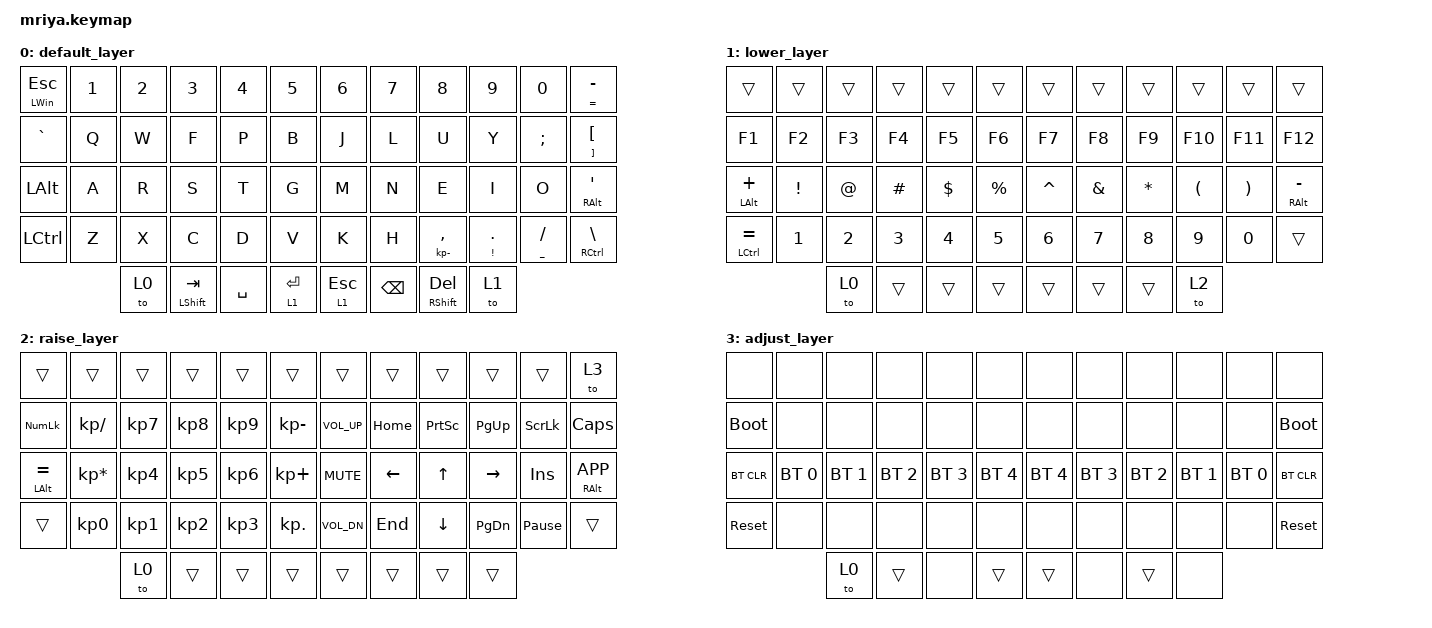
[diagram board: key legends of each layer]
/*
 * Copyright (c) 2023 Andrei Gaevskii
 *
 * SPDX-License-Identifier: MIT
 */

#include <behaviors.dtsi>
#include <dt-bindings/zmk/bt.h>
#include <dt-bindings/zmk/keys.h>

#define DEF 0
#define LWR 1
#define RSE 2
#define ADJ 3

&lt {
    quick_tap_ms = <200>;
};

&mt {
    quick_tap_ms = <200>;
};

/ {
    keymap {
        compatible = "zmk,keymap";

        default_layer {
            bindings = <
  &mt LEFT_WIN ESC  &kp N1  &kp N2  &kp N3         &kp N4     &kp N5       &kp N6     &kp N7         &kp N8              &kp N9               &kp N0          &mt EQUAL MINUS
  &kp GRAVE         &kp Q   &kp W   &kp F          &kp P      &kp B        &kp J      &kp L          &kp U               &kp Y                &kp SEMICOLON   &mt RIGHT_BRACKET LEFT_BRACKET
  &kp LEFT_ALT      &kp A   &kp R   &kp S          &kp T      &kp G        &kp M      &kp N          &kp E               &kp I                &kp O           &mt RALT SQT
  &kp LCTRL         &kp Z   &kp X   &kp C          &kp D      &kp V        &kp K      &kp H          &mt KP_MINUS COMMA  &mt EXCLAMATION DOT  &mt UNDER FSLH  &mt RCTRL BSLH
                            &to 0   &mt LSHFT TAB  &kp SPACE  &lt 1 RET    &lt 1 ESC  &kp BACKSPACE  &mt RSHIFT DEL      &to 1
            >;
        };

        lower_layer {
            bindings = <
  &trans           &trans    &trans  &trans    &trans    &trans       &trans     &trans    &trans    &trans    &trans    &trans
  &kp F1           &kp F2    &kp F3  &kp F4    &kp F5    &kp F6       &kp F7     &kp F8    &kp F9    &kp F10   &kp F11   &kp F12
  &mt LALT PLUS    &kp EXCL  &kp AT  &kp HASH  &kp DLLR  &kp PRCNT    &kp CARET  &kp AMPS  &kp STAR  &kp LPAR  &kp RPAR  &mt RALT MINUS
  &mt LCTRL EQUAL  &kp N1    &kp N2  &kp N3    &kp N4    &kp N5       &kp N6     &kp N7    &kp N8    &kp N9    &kp N0    &trans
                             &to 0   &trans    &trans    &trans       &trans     &trans    &trans    &to 2
            >;
        };

        raise_layer {
            bindings = <
  &trans          &trans           &trans     &trans     &trans     &trans          &trans        &trans    &trans     &trans     &trans           &to 3
  &kp KP_NUM      &kp KP_SLASH     &kp KP_N7  &kp KP_N8  &kp KP_N9  &kp KP_MINUS    &kp C_VOL_UP  &kp HOME  &kp PSCRN  &kp PG_UP  &kp SLCK         &kp CAPS
  &mt LALT EQUAL  &kp KP_MULTIPLY  &kp KP_N4  &kp KP_N5  &kp KP_N6  &kp KP_PLUS     &kp C_MUTE    &kp LEFT  &kp UP     &kp RIGHT  &kp INS          &mt RIGHT_ALT K_APP
  &trans          &kp KP_N0        &kp KP_N1  &kp KP_N2  &kp KP_N3  &kp KP_DOT      &kp C_VOL_DN  &kp END   &kp DOWN   &kp PG_DN  &kp PAUSE_BREAK  &trans
                                   &to 0      &trans     &trans     &trans          &trans        &trans    &trans     &trans
            >;
        };

        adjust_layer {
            bindings = <
  &none        &none         &none         &none         &none         &none           &none         &none         &none         &none         &none         &none
  &bootloader  &none         &none         &none         &none         &none           &none         &none         &none         &none         &none         &bootloader
  &bt BT_CLR   &bt BT_SEL 0  &bt BT_SEL 1  &bt BT_SEL 2  &bt BT_SEL 3  &bt BT_SEL 4    &bt BT_SEL 4  &bt BT_SEL 3  &bt BT_SEL 2  &bt BT_SEL 1  &bt BT_SEL 0  &bt BT_CLR
  &sys_reset   &none         &none         &none         &none         &none           &none         &none         &none         &none         &none         &sys_reset
                             &to 0         &trans        &none         &trans          &trans        &none         &trans        &none
            >;
        };
    };
};
